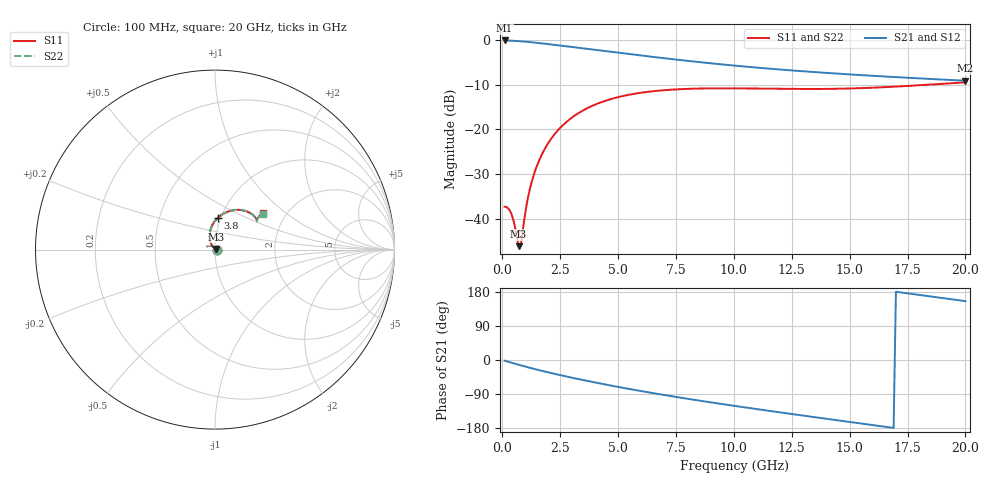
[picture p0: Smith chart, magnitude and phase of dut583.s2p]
! Touchstone file exported from HFSS 2024.1.0
!  File:  C:/UserFiles/LocalFiles/RDL_TSV_Batchsim/temp_RDL_TSV_583_1779757374.aedt
!  Generated:  09:17:27 AM May 26, 2026
!  Design:  RDL_TSV
!  Project:  temp_RDL_TSV_583_1779757374
!  Setup:  Setup1
!  Solution:  Sweep
! Variables:
!  dtsv = 13.15um
!  hbump = 3um
!  htsv = 64.28um
!  ldown = 201.52um
!  lrdl = 592.35um
!  p = 40
!  p1 = 47.18um
!  rhole = 10um
!  subl = 2973.96um
!  t = 450um
!  tdown = 2.59um
!  trdl = 4.67um
!  viad = 10um
!  wdown = 24.53um
!  wrdl = 18.27um
!  xbump = 18um
# GHz S MA R 50.000000
! Terminal data exported
! Port[1] = TM1_1_T1
! Port[2] = TM1_4_T1
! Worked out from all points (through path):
!   200 points, 100 MHz to 20 GHz, reference 50 ohm
!   highest |S21| = -0.12 dB at 100 MHz (marker M1); lowest = -9.1 dB at 20 GHz (marker M2)
!   group delay of S21, straight-line fit = 26.8 ps
!   lowest |S11| = -46.2 dB at 700 MHz (marker M3), VSWR 1.01, Z = 50.4 + j0.324 ohm
!   |S11| at or under -10 dB: start of sweep to 18.49 GHz
!   |S22| runs from -46.2 to -9.5 dB; largest |S21 - S12| = 3.2e-14
!   S11 on the Smith chart (normalised r, x): 100 MHz: 1.03, +0.00; 3.8 GHz: 0.97, +0.36; 20 GHz: 1.54, +0.70
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0.1  0.01358 2.2  0.9858 -1.8  0.9858 -1.8  0.01358 2.2
! Gamma 0 0 0 0
! Port Impedance 50 0 50 0
0.3  0.01262 3.4  0.9821 -5.4  0.9821 -5.4  0.01262 3.4
0.4  0.01119 4.3  0.9794 -7.2  0.9794 -7.2  0.01119 4.3
0.5  0.009207 7.5  0.9764 -9.0  0.9764 -9.0  0.009211 7.5
0.7  0.004912 40.9  0.9691 -12.4  0.9691 -12.4  0.004919 40.9
0.8  0.005024 83.9  0.9648 -14.1  0.9648 -14.1  0.00503 83.8
1  0.01197 121.5  0.9553 -17.4  0.9553 -17.4  0.01198 121.4
1.2  0.02193 126.5  0.9447 -20.7  0.9447 -20.7  0.02193 126.5
1.4  0.03322 125.4  0.9332 -23.9  0.9332 -23.9  0.03322 125.4
1.7  0.05165 120.8  0.915 -28.5  0.915 -28.5  0.05164 120.8
2.1  0.07757 113.3  0.8898 -34.3  0.8898 -34.3  0.07755 113.2
2.5  0.1036 105.8  0.8646 -39.9  0.8646 -39.9  0.1035 105.7
3  0.1347 96.9  0.8335 -46.6  0.8335 -46.6  0.1346 96.9
3.5  0.1631 89.0  0.8034 -53.1  0.8034 -53.1  0.163 88.9
3.8  0.1787 84.6  0.7858 -56.8  0.7858 -56.8  0.1786 84.5
5.1  0.232 68.5  0.7139 -72.2  0.7139 -72.2  0.2319 68.4
6.8  0.2711 53.3  0.6318 -90.4  0.6318 -90.4  0.2709 53.2
8.4  0.2852 43.7  0.568 -106.2  0.568 -106.2  0.285 43.6
10.1  0.2868 37.4  0.5135 -121.7  0.5135 -121.7  0.2867 37.3
13.4  0.2821 34.1  0.4378 -150.1  0.4378 -150.1  0.2819 34.0
16.7  0.2974 36.4  0.387 -177.6  0.387 -177.6  0.297 36.2
20  0.3351 37.0  0.3493 155.4  0.3493 155.4  0.3343 36.8
